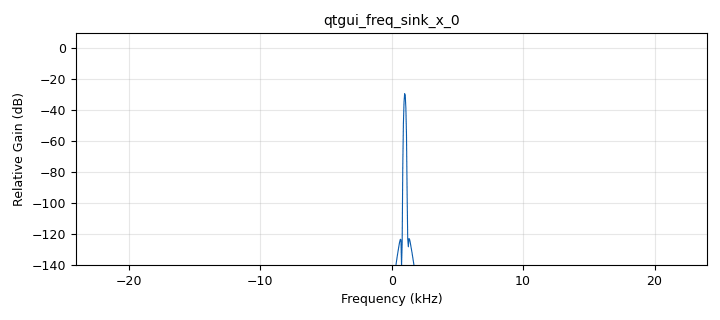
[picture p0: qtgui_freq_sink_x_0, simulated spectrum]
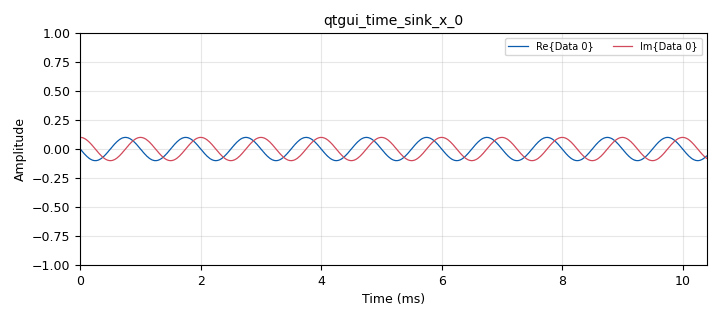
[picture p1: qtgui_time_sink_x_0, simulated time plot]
<?xml version='1.0' encoding='utf-8'?>
<?grc format='1' created='3.7.13'?>
<flow_graph>
<block>
<key>options</key>
<param><key>id</key><value>challenge1</value></param>
<param><key>generate_options</key><value>qt_gui</value></param>
</block>
<block>
<key>variable_qtgui_range</key>
<param><key>id</key><value></value></param>
<param><key>value</key><value></value></param>
<param><key>orient</key><value>Qt.Horizontal</value></param>
<param><key>start</key><value></value></param>
<param><key>step</key><value></value></param>
<param><key>stop</key><value></value></param>
</block>
<block>
<key>variable</key>
<param><key>id</key><value>samp_rate</value></param>
<param><key>value</key><value>48000</value></param>
</block>
<block>
<key>analog_sig_source_x</key>
<param><key>id</key><value>analog_sig_source_x_0</value></param>
<param><key>amp</key><value>0.1</value></param>
<param><key>freq</key><value>1000</value></param>
<param><key>offset</key><value>0</value></param>
<param><key>type</key><value>complex</value></param>
<param><key>samp_rate</key><value>samp_rate</value></param>
<param><key>waveform</key><value>analog.GR_COS_WAVE</value></param>
</block>
<block>
<key>blocks_throttle</key>
<param><key>id</key><value>blocks_throttle_1</value></param>
<param><key>samples_per_second</key><value>samp_rate</value></param>
<param><key>type</key><value>complex</value></param>
</block>
<block>
<key>note</key>
<param><key>id</key><value>note_0</value></param>
<param><key>comment</key><value>For this challenge, make the QT GUI Range block
act as a variable that adjusts the sine wave's
frequency in realtime (ie after you hit the play button).

Use a starting freq of 1kHz, a min/max of 0 kHz
and 10 kHz respectively, and a step size of 100 Hz (not kHz).  

Remember the ID of the QT GUI Range block is the
variable name.  To use the variable you just enter 
that ID you chose into another block's parameter.</value></param>
</block>
<block>
<key>qtgui_freq_sink_x</key>
<param><key>id</key><value>qtgui_freq_sink_x_0</value></param>
<param><key>bw</key><value>samp_rate</value></param>
<param><key>fc</key><value>0</value></param>
<param><key>fftsize</key><value>1024</value></param>
<param><key>showports</key><value>True</value></param>
<param><key>type</key><value>complex</value></param>
<param><key>wintype</key><value>firdes.WIN_BLACKMAN_hARRIS</value></param>
</block>
<block>
<key>qtgui_time_sink_x</key>
<param><key>id</key><value>qtgui_time_sink_x_0</value></param>
<param><key>color1</key><value>"blue"</value></param>
<param><key>label1</key><value></value></param>
<param><key>color2</key><value>"red"</value></param>
<param><key>label2</key><value></value></param>
<param><key>size</key><value>500</value></param>
<param><key>srate</key><value>samp_rate</value></param>
<param><key>type</key><value>complex</value></param>
</block>
<connection><source_block_id>analog_sig_source_x_0</source_block_id><sink_block_id>blocks_throttle_1</sink_block_id><source_key>0</source_key><sink_key>0</sink_key></connection>
<connection><source_block_id>blocks_throttle_1</source_block_id><sink_block_id>qtgui_freq_sink_x_0</sink_block_id><source_key>0</source_key><sink_key>0</sink_key></connection>
<connection><source_block_id>blocks_throttle_1</source_block_id><sink_block_id>qtgui_time_sink_x_0</sink_block_id><source_key>0</source_key><sink_key>0</sink_key></connection>
</flow_graph>
